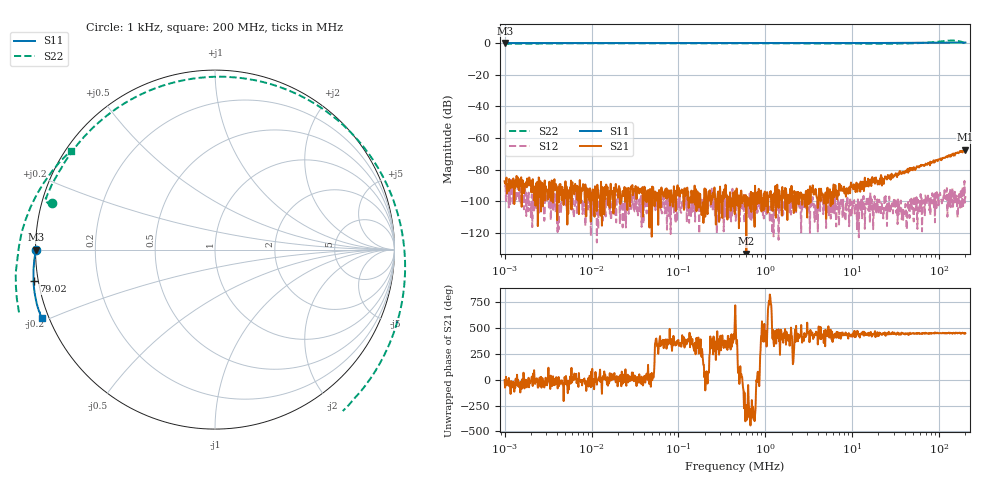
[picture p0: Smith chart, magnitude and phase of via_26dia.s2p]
! ListType=Log
# MHZ S RI R 50
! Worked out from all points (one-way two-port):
!   1000 points, 1 kHz to 200 MHz, reference 50 ohm
!   highest |S21| = -67.29 dB at 200 MHz (marker M1); lowest = -133.0 dB at 603.3 kHz (marker M2)
!   lowest |S11| = 0.0 dB at 1.012 kHz (marker M3)
!   |S11| at or under -10 dB: nowhere
!   |S22| runs from -0.5 to 1.7 dB; largest |S21 - S12| = 0.00044
!   S11 on the Smith chart (normalised r, x): 1 kHz: 0.00, -0.00; 79.02 MHz: -0.01, -0.09; 200 MHz: -0.02, -0.19
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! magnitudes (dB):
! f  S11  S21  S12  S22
! 1 kHz  0.0  -87.3  -89.9  -0.5
! 1.012 kHz  0.0  -88.8  -90.1  -0.5
! 7.694 kHz  0.0  -91.8  -101.3  -0.2
! 58.48 kHz  0.0  -114.9  -102.4  -0.1
! 450 kHz  0.0  -93.4  -102.7  -0.2
! 603.3 kHz  0.0  -133.0  -104.5  -0.2
! 3.42 MHz  0.0  -93.9  -102.6  -0.2
! 26.31 MHz  0.1  -85.0  -106.0  -0.4
! 40.36 MHz  0.1  -81.2  -104.8  -0.3
! 50.9 MHz  0.2  -78.4  -112.8  -0.2
! 56.13 MHz  0.2  -78.3  -117.4  -0.1
! 58.22 MHz  0.2  -77.8  -101.1  0.0
! 69.08 MHz  0.2  -76.9  -96.3  0.2
! 79.02 MHz  0.2  -74.9  -108.9  0.4
! 97.26 MHz  0.3  -73.5  -99.7  0.9
! 100.9 MHz  0.3  -73.5  -95.9  1.0
! 111.3 MHz  0.3  -72.6  -98.3  1.2
! 115.4 MHz  0.3  -72.7  -92.9  1.3
! 122.7 MHz  0.3  -71.5  -91.7  1.5
! 145.6 MHz  0.3  -71.1  -97.4  1.6
! 168.6 MHz  0.3  -69.3  -99.3  1.3
! 200 MHz  0.3  -67.3  -96.8  -0.2
